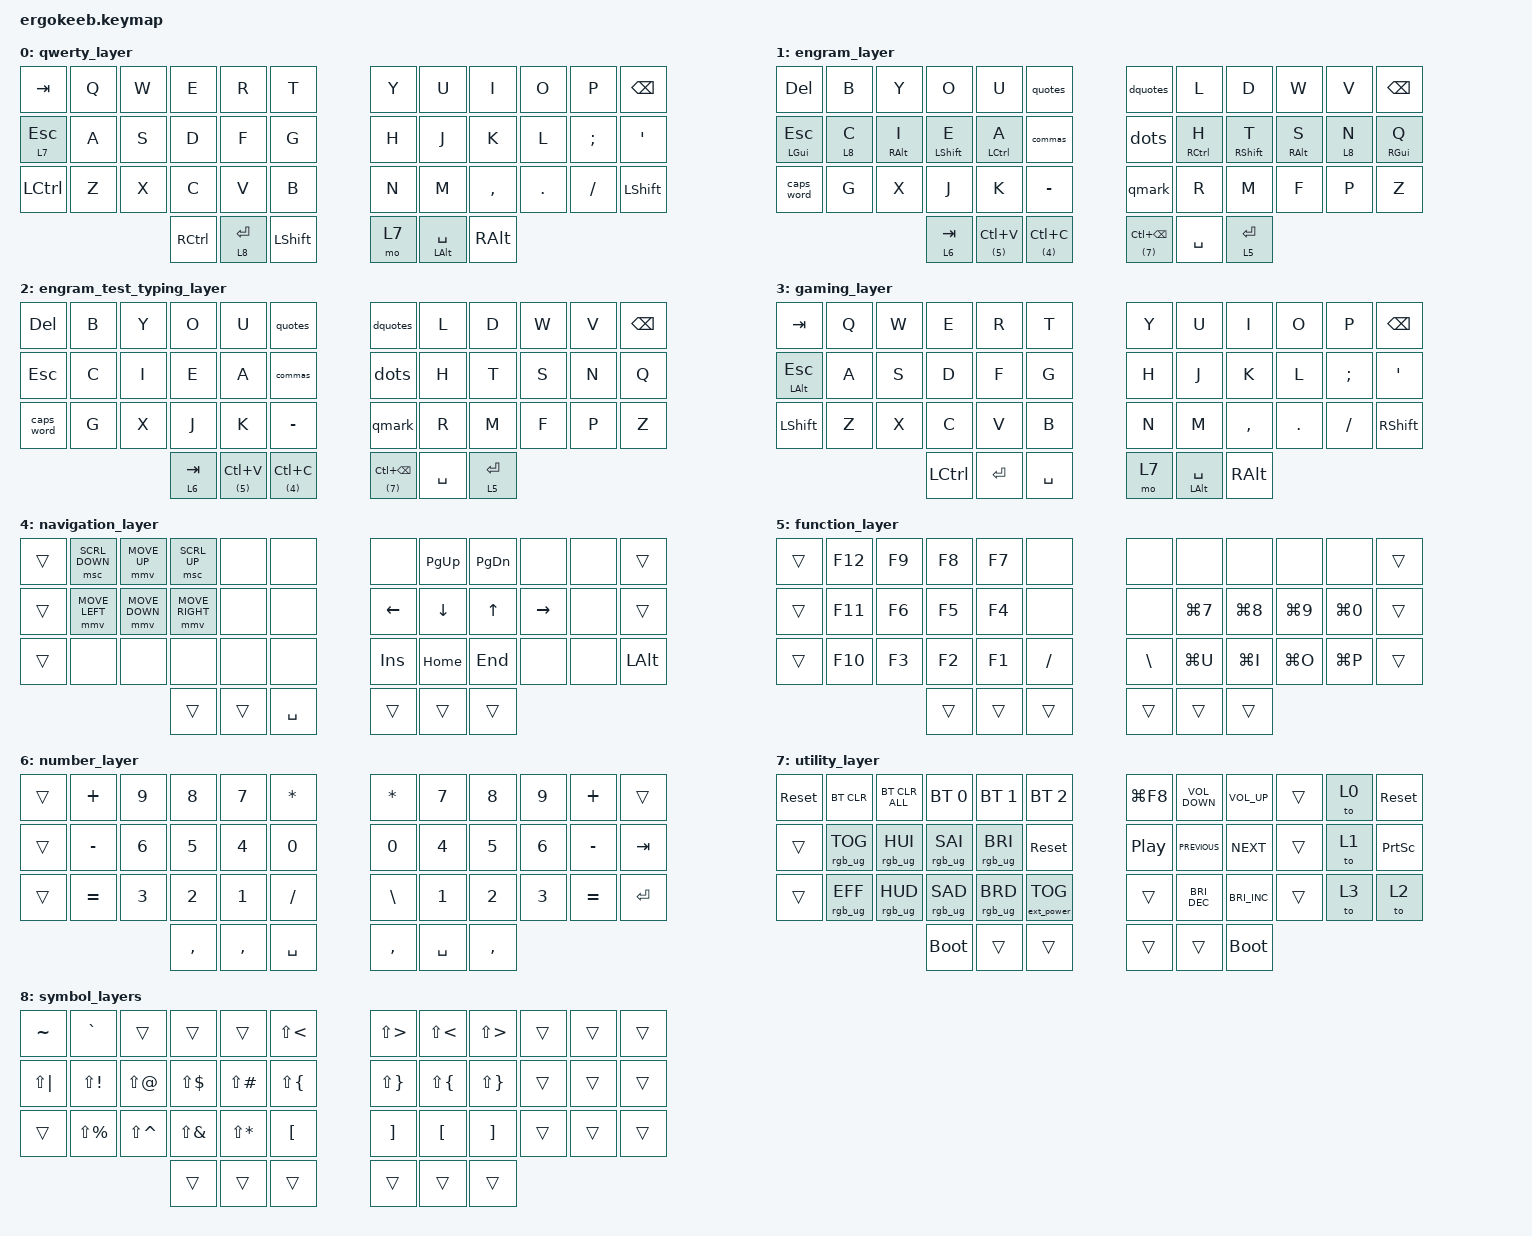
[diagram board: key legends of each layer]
#include <behaviors.dtsi>
#include <dt-bindings/zmk/bt.h>
#include <dt-bindings/zmk/ext_power.h>
#include <dt-bindings/zmk/keys.h>
#include <dt-bindings/zmk/pointing.h>
#include <dt-bindings/zmk/rgb.h>

// Made using: https://nickcoutsos.github.io/keymap-editor/

&lt { tapping-term-ms = <170>; };

&mt {
    tapping-term-ms = <170>;
    flavor = "tap-preferred";
};

/ {
    behaviors {
        quotes: quotes {
            compatible = "zmk,behavior-mod-morph";
            label = "QUOTES";
            bindings = <&kp SQT>, <&kp LEFT_PARENTHESIS>;

            #binding-cells = <0>;
            mods = <(MOD_LSFT|MOD_RSFT)>;
        };

        commas: commas {
            compatible = "zmk,behavior-mod-morph";
            label = "COMMAS";
            bindings = <&kp COMMA>, <&kp SEMICOLON>;

            #binding-cells = <0>;
            mods = <(MOD_LSFT|MOD_RSFT)>;
        };

        dquotes: dquotes {
            compatible = "zmk,behavior-mod-morph";
            label = "DQUOTES";
            bindings = <&kp DOUBLE_QUOTES>, <&kp RIGHT_PARENTHESIS>;

            #binding-cells = <0>;
            mods = <(MOD_LSFT|MOD_RSFT)>;
        };

        dots: dots {
            compatible = "zmk,behavior-mod-morph";
            label = "DOTS";
            bindings = <&kp DOT>, <&kp COLON>;

            #binding-cells = <0>;
            mods = <(MOD_LSFT|MOD_RSFT)>;
        };

        qmark: qmark {
            compatible = "zmk,behavior-mod-morph";
            label = "QMARK";
            bindings = <&kp QMARK>, <&kp EXCLAMATION>;

            #binding-cells = <0>;
            mods = <(MOD_LSFT|MOD_RSFT)>;
        };
    };

    keymap {
        compatible = "zmk,keymap";

        qwerty_layer {
            bindings = <
&kp TAB    &kp Q  &kp W  &kp E      &kp R        &kp T        &kp Y  &kp U           &kp I      &kp O    &kp P     &kp BSPC
&lt 7 ESC  &kp A  &kp S  &kp D      &kp F        &kp G        &kp H  &kp J           &kp K      &kp L    &kp SEMI  &kp SQT
&kp LCTRL  &kp Z  &kp X  &kp C      &kp V        &kp B        &kp N  &kp M           &kp COMMA  &kp DOT  &kp FSLH  &kp LSHFT
                         &kp RCTRL  &lt 8 ENTER  &kp LSHFT    &mo 7  &mt LALT SPACE  &kp RALT
            >;
        };

        engram_layer {
            bindings = <
&kp DEL              &kp B    &kp Y       &kp O        &kp U          &quotes          &dquotes               &kp L        &kp D        &kp W       &kp V    &kp BSPC
&mt LEFT_GUI ESCAPE  &lt 8 C  &mt RALT I  &mt LSHFT E  &mt LCTRL A    &commas          &dots                  &mt RCTRL H  &mt RSHFT T  &mt RALT S  &lt 8 N  &mt RGUI Q
&caps_word           &kp G    &kp X       &kp J        &kp K          &kp MINUS        &qmark                 &kp R        &kp M        &kp F       &kp P    &kp Z
                                          &lt 6 TAB    &lt (5) LC(V)  &lt (4) LC(C)    &lt (7) LC(BACKSPACE)  &kp SPACE    &lt 5 ENTER
            >;
        };

        engram_test_typing_layer {
            bindings = <
&kp DEL     &kp B  &kp Y  &kp O      &kp U          &quotes          &dquotes               &kp L      &kp D        &kp W  &kp V  &kp BSPC
&kp ESC     &kp C  &kp I  &kp E      &kp A          &commas          &dots                  &kp H      &kp T        &kp S  &kp N  &kp Q
&caps_word  &kp G  &kp X  &kp J      &kp K          &kp MINUS        &qmark                 &kp R      &kp M        &kp F  &kp P  &kp Z
                          &lt 6 TAB  &lt (5) LC(V)  &lt (4) LC(C)    &lt (7) LC(BACKSPACE)  &kp SPACE  &lt 5 ENTER
            >;
        };

        gaming_layer {
            bindings = <
&kp TAB          &kp Q  &kp W  &kp E      &kp R      &kp T        &kp Y  &kp U           &kp I      &kp O    &kp P     &kp BSPC
&mt LALT ESCAPE  &kp A  &kp S  &kp D      &kp F      &kp G        &kp H  &kp J           &kp K      &kp L    &kp SEMI  &kp SQT
&kp LSHFT        &kp Z  &kp X  &kp C      &kp V      &kp B        &kp N  &kp M           &kp COMMA  &kp DOT  &kp FSLH  &kp RIGHT_SHIFT
                               &kp LCTRL  &kp ENTER  &kp SPACE    &mo 7  &mt LALT SPACE  &kp RALT
            >;
        };

        navigation_layer {
            bindings = <
&trans  &msc SCRL_DOWN  &mmv MOVE_UP    &msc SCRL_UP     &none   &none        &none       &kp PAGE_UP  &kp PAGE_DOWN  &none      &none  &trans
&trans  &mmv MOVE_LEFT  &mmv MOVE_DOWN  &mmv MOVE_RIGHT  &none   &none        &kp LEFT    &kp DOWN     &kp UP         &kp RIGHT  &none  &trans
&trans  &none           &none           &none            &none   &none        &kp INSERT  &kp HOME     &kp END        &none      &none  &kp LALT
                                        &trans           &trans  &kp SPACE    &trans      &trans       &trans
            >;
        };

        function_layer {
            bindings = <
&trans  &kp F12  &kp F9  &kp F8  &kp F7  &none        &none          &none       &none       &none       &none       &trans
&trans  &kp F11  &kp F6  &kp F5  &kp F4  &none        &none          &kp LG(N7)  &kp LG(N8)  &kp LG(N9)  &kp LG(N0)  &trans
&trans  &kp F10  &kp F3  &kp F2  &kp F1  &kp SLASH    &kp BACKSLASH  &kp LG(U)   &kp LG(I)   &kp LG(O)   &kp LG(P)   &trans
                         &trans  &trans  &trans       &trans         &trans      &trans
            >;
        };

        number_layer {
            bindings = <
&trans  &kp PLUS   &kp N9  &kp N8     &kp N7     &kp STAR     &kp STAR   &kp N7     &kp N8     &kp N9  &kp PLUS   &trans
&trans  &kp MINUS  &kp N6  &kp N5     &kp N4     &kp N0       &kp N0     &kp N4     &kp N5     &kp N6  &kp MINUS  &kp TAB
&trans  &kp EQUAL  &kp N3  &kp N2     &kp N1     &kp FSLH     &kp BSLH   &kp N1     &kp N2     &kp N3  &kp EQUAL  &kp RET
                           &kp COMMA  &kp COMMA  &kp SPACE    &kp COMMA  &kp SPACE  &kp COMMA
            >;
        };

        utility_layer {
            bindings = <
&sys_reset  &bt BT_CLR       &bt BT_CLR_ALL   &bt BT_SEL 0     &bt BT_SEL 1     &bt BT_SEL 2         &kp LG(F8)        &kp C_VOLUME_DOWN     &kp C_VOLUME_UP       &trans  &to 0  &sys_reset
&trans      &rgb_ug RGB_TOG  &rgb_ug RGB_HUI  &rgb_ug RGB_SAI  &rgb_ug RGB_BRI  &sys_reset           &kp C_PLAY_PAUSE  &kp C_PREVIOUS        &kp C_NEXT            &trans  &to 1  &kp PRINTSCREEN
&trans      &rgb_ug RGB_EFF  &rgb_ug RGB_HUD  &rgb_ug RGB_SAD  &rgb_ug RGB_BRD  &ext_power EP_TOG    &trans            &kp C_BRIGHTNESS_DEC  &kp C_BRIGHTNESS_INC  &trans  &to 3  &to 2
                                              &bootloader      &trans           &trans               &trans            &trans                &bootloader
            >;
        };

        symbol_layers {
            bindings = <
&kp TILDE     &kp GRAVE      &trans         &trans        &trans         &kp LS(LT)      &kp LS(GT)    &kp LS(LT)    &kp LS(GT)    &trans  &trans  &trans
&kp LS(PIPE)  &kp LS(EXCL)   &kp LS(AT)     &kp LS(DLLR)  &kp LS(POUND)  &kp LS(LBRC)    &kp LS(RBRC)  &kp LS(LBRC)  &kp LS(RBRC)  &trans  &trans  &trans
&trans        &kp LS(PRCNT)  &kp LS(CARET)  &kp LS(AMPS)  &kp LS(STAR)   &kp LBKT        &kp RBKT      &kp LBKT      &kp RBKT      &trans  &trans  &trans
                                            &trans        &trans         &trans          &trans        &trans        &trans
            >;
        };
    };
};
